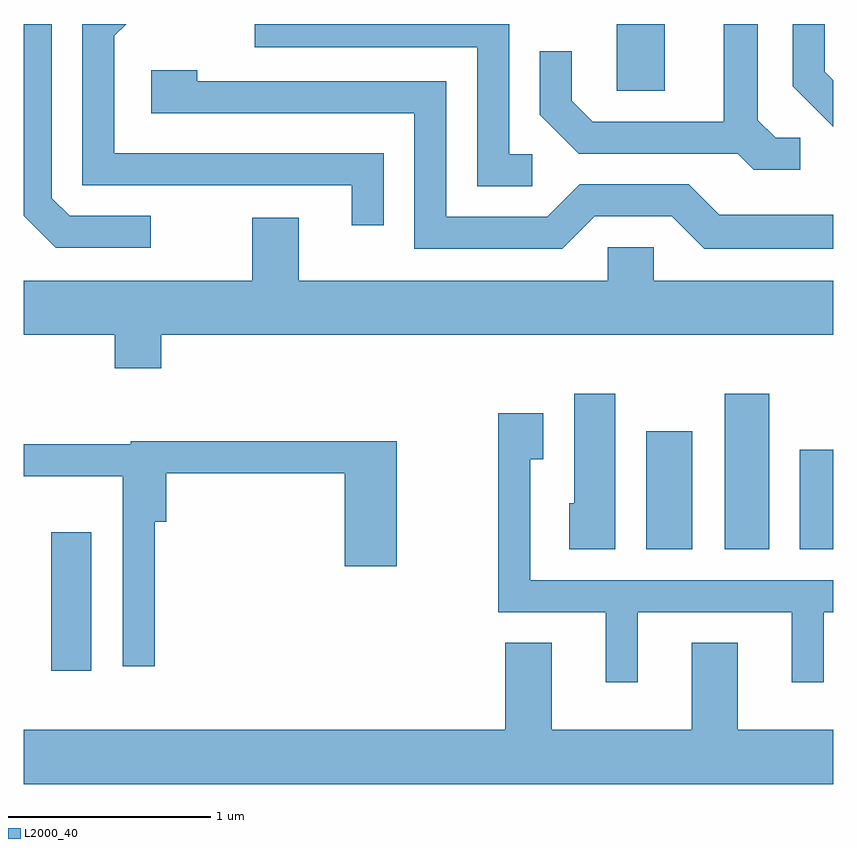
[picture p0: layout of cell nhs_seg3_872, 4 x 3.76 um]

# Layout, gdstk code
import gdstk
lib = gdstk.Library(unit=1e-6, precision=1e-09)
def R(c, l, rs):  # rectangles x0, y0, x1, y1
    for r in rs: c.add(gdstk.rectangle(r[:2], r[2:], *l))
def P(c, l, *ps):  # polygons
    for p in ps: c.add(gdstk.Polygon(p, *l))
L2000_40 = (2000, 40)

nhs_seg3_872 = lib.new_cell('nhs_seg3_872')
R(nhs_seg3_872, L2000_40, [(209.746,1228.696,209.944,1229.379), (212.686,1229.296,212.914,1229.879), (213.076,1229.296,213.294,1230.064), (213.446,1229.296,213.611,1229.789), (212.541,1231.561,212.779,1231.892)])
P(nhs_seg3_872, L2000_40, [(210.238,1230.944),(209.837,1230.944),(209.749,1231.032),(209.749,1231.892),(209.611,1231.892),(209.611,1230.944),(209.769,1230.786),(210.238,1230.786)],
  [(211.389,1231.254),(210.059,1231.254),(210.059,1231.834),(210.118,1231.892),(209.901,1231.892),(209.901,1231.096),(211.231,1231.096),(211.231,1230.898),(211.389,1230.898)],
  [(212.123,1231.249),(212.009,1231.249),(212.009,1231.892),(210.753,1231.892),(210.753,1231.776),(211.851,1231.776),(211.851,1231.091),(212.123,1231.091)],
  [(213.448,1231.329),(213.327,1231.329),(213.239,1231.417),(213.239,1231.892),(213.071,1231.892),(213.071,1231.409),(212.422,1231.409),(212.319,1231.512),(212.319,1231.758),(212.161,1231.758),(212.161,1231.444),(212.354,1231.251),(213.139,1231.251),(213.219,1231.171),(213.448,1231.171)],
  [(213.611,1231.615),(213.569,1231.657),(213.569,1231.892),(213.411,1231.892),(213.411,1231.584),(213.611,1231.384)],
  [(212.432,1230.941),(212.814,1230.941),(212.974,1230.781),(213.611,1230.781),(213.611,1230.949),(213.047,1230.949),(212.897,1231.099),(212.359,1231.099),(212.199,1230.939),(211.699,1230.939),(211.699,1231.609),(210.469,1231.609),(210.469,1231.664),(210.241,1231.664),(210.241,1231.451),(211.541,1231.451),(211.541,1230.781),(212.272,1230.781)],
  [(210.289,1230.356),(213.611,1230.356),(213.611,1230.624),(212.724,1230.624),(212.724,1230.789),(212.496,1230.789),(212.496,1230.624),(210.969,1230.624),(210.969,1230.934),(210.741,1230.934),(210.741,1230.624),(209.611,1230.624),(209.611,1230.356),(210.061,1230.356),(210.061,1230.191),(210.289,1230.191)],
  [(212.534,1230.064),(212.331,1230.064),(212.331,1229.524),(212.306,1229.524),(212.306,1229.296),(212.534,1229.296)],
  [(212.644,1228.986),(213.406,1228.986),(213.406,1228.638),(213.564,1228.638),(213.564,1228.986),(213.611,1228.986),(213.611,1229.144),(212.114,1229.144),(212.114,1229.741),(212.179,1229.741),(212.179,1229.969),(211.956,1229.969),(211.956,1228.986),(212.486,1228.986),(212.486,1228.638),(212.644,1228.638)],
  [(210.259,1229.431),(210.314,1229.431),(210.314,1229.671),(211.196,1229.671),(211.196,1229.211),(211.454,1229.211),(211.454,1229.829),(210.14,1229.829),(210.14,1229.814),(209.611,1229.814),(209.611,1229.656),(210.101,1229.656),(210.101,1228.718),(210.259,1228.718)],
  [(213.611,1228.404),(213.139,1228.404),(213.139,1228.834),(212.911,1228.834),(212.911,1228.404),(212.219,1228.404),(212.219,1228.834),(211.991,1228.834),(211.991,1228.404),(209.611,1228.404),(209.611,1228.136),(213.611,1228.136)])

lib.write_gds('nhs_seg3_872.gds')
